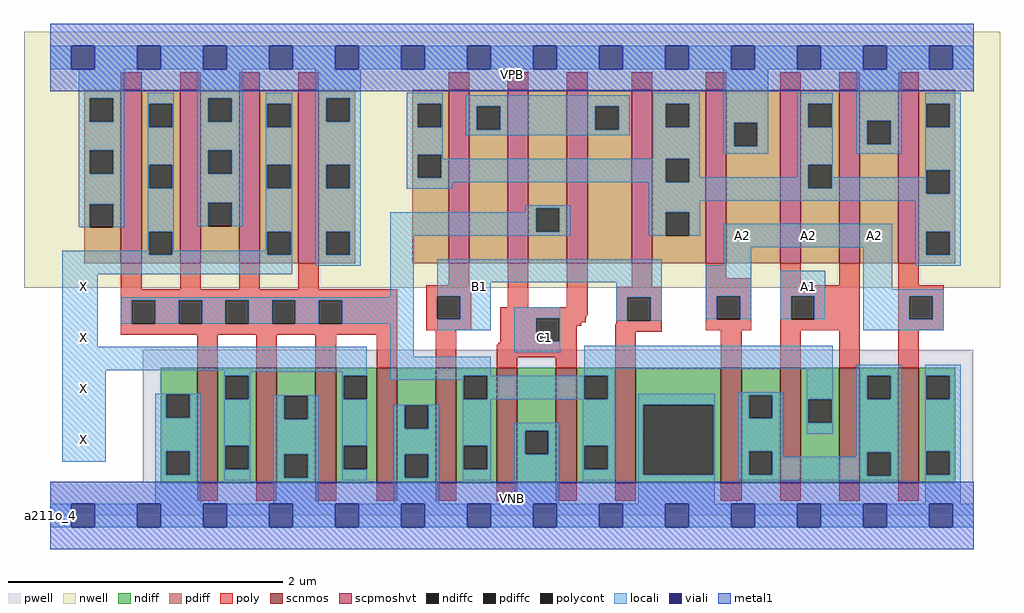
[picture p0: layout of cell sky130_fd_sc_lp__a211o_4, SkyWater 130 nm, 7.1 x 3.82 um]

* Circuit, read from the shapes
.subckt sky130_fd_sc_lp__a211o_4 A1 A2 B1 C1 VGND VNB VPB VPWR X
XM1 X n1 VGND VNB sky130_fd_pr__nfet_01v8 w=0.84 l=0.15 m=4
XM2 n1 B1 VGND VNB sky130_fd_pr__nfet_01v8 w=0.84 l=0.15 m=2
XM3 VGND C1 n1 VNB sky130_fd_pr__nfet_01v8 w=0.84 l=0.15 m=2
XM4 n2 A2 VGND VNB sky130_fd_pr__nfet_01v8 w=0.84 l=0.15 m=2
XM5 n1 A1 n2 VNB sky130_fd_pr__nfet_01v8 w=0.84 l=0.15 m=2
XM6 X n1 VPWR VPB sky130_fd_pr__pfet_01v8_hvt w=1.26 l=0.15 m=4
XM7 n3 B1 n4 VPB sky130_fd_pr__pfet_01v8_hvt w=1.26 l=0.15 m=2
XM8 n1 C1 n3 VPB sky130_fd_pr__pfet_01v8_hvt w=1.26 l=0.15 m=2
XM9 VPWR A2 n4 VPB sky130_fd_pr__pfet_01v8_hvt w=1.26 l=0.15 m=2
XM10 n4 A1 VPWR VPB sky130_fd_pr__pfet_01v8_hvt w=1.26 l=0.15 m=2
.ends

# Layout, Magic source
magic
tech sky130A
magscale 1 2
<< nwell >>
rect -38 331 1382 704
<< pwell >>
rect 135 49 1343 241
rect 0 0 1344 49
<< scnmos >>
rect 214 47 244 215
rect 300 47 330 215
rect 386 47 416 215
rect 475 47 505 215
rect 561 47 591 215
rect 650 47 680 215
rect 736 47 766 215
rect 822 47 852 215
rect 976 47 1006 215
rect 1062 47 1092 215
rect 1148 47 1178 215
rect 1234 47 1264 215
<< scpmoshvt >>
rect 103 367 133 619
rect 189 367 219 619
rect 275 367 305 619
rect 361 367 391 619
rect 580 367 610 619
rect 666 367 696 619
rect 752 367 782 619
rect 846 367 876 619
rect 954 367 984 619
rect 1062 367 1092 619
rect 1148 367 1178 619
rect 1234 367 1264 619
<< ndiff >>
rect 161 176 214 215
rect 161 142 169 176
rect 203 142 214 176
rect 161 93 214 142
rect 161 59 169 93
rect 203 59 214 93
rect 161 47 214 59
rect 244 203 300 215
rect 244 169 255 203
rect 289 169 300 203
rect 244 101 300 169
rect 244 67 255 101
rect 289 67 300 101
rect 244 47 300 67
rect 330 174 386 215
rect 330 140 341 174
rect 375 140 386 174
rect 330 89 386 140
rect 330 55 341 89
rect 375 55 386 89
rect 330 47 386 55
rect 416 203 475 215
rect 416 169 427 203
rect 461 169 475 203
rect 416 101 475 169
rect 416 67 427 101
rect 461 67 475 101
rect 416 47 475 67
rect 505 160 561 215
rect 505 126 516 160
rect 550 126 561 160
rect 505 89 561 126
rect 505 55 516 89
rect 550 55 561 89
rect 505 47 561 55
rect 591 203 650 215
rect 591 169 602 203
rect 636 169 650 203
rect 591 101 650 169
rect 591 67 602 101
rect 636 67 650 101
rect 591 47 650 67
rect 680 123 736 215
rect 680 89 691 123
rect 725 89 736 123
rect 680 47 736 89
rect 766 203 822 215
rect 766 169 777 203
rect 811 169 822 203
rect 766 101 822 169
rect 766 67 777 101
rect 811 67 822 101
rect 766 47 822 67
rect 852 161 976 215
rect 852 59 863 161
rect 965 59 976 161
rect 852 47 976 59
rect 1006 175 1062 215
rect 1006 141 1017 175
rect 1051 141 1062 175
rect 1006 93 1062 141
rect 1006 59 1017 93
rect 1051 59 1062 93
rect 1006 47 1062 59
rect 1092 169 1148 215
rect 1092 135 1103 169
rect 1137 135 1148 169
rect 1092 47 1148 135
rect 1178 203 1234 215
rect 1178 169 1189 203
rect 1223 169 1234 203
rect 1178 92 1234 169
rect 1178 58 1189 92
rect 1223 58 1234 92
rect 1178 47 1234 58
rect 1264 203 1317 215
rect 1264 169 1275 203
rect 1309 169 1317 203
rect 1264 93 1317 169
rect 1264 59 1275 93
rect 1309 59 1317 93
rect 1264 47 1317 59
<< pdiff >>
rect 50 607 103 619
rect 50 573 58 607
rect 92 573 103 607
rect 50 531 103 573
rect 50 497 58 531
rect 92 497 103 531
rect 50 453 103 497
rect 50 419 58 453
rect 92 419 103 453
rect 50 367 103 419
rect 133 599 189 619
rect 133 565 144 599
rect 178 565 189 599
rect 133 510 189 565
rect 133 476 144 510
rect 178 476 189 510
rect 133 413 189 476
rect 133 379 144 413
rect 178 379 189 413
rect 133 367 189 379
rect 219 607 275 619
rect 219 573 230 607
rect 264 573 275 607
rect 219 531 275 573
rect 219 497 230 531
rect 264 497 275 531
rect 219 455 275 497
rect 219 421 230 455
rect 264 421 275 455
rect 219 367 275 421
rect 305 599 361 619
rect 305 565 316 599
rect 350 565 361 599
rect 305 510 361 565
rect 305 476 316 510
rect 350 476 361 510
rect 305 413 361 476
rect 305 379 316 413
rect 350 379 361 413
rect 305 367 361 379
rect 391 607 444 619
rect 391 573 402 607
rect 436 573 444 607
rect 391 510 444 573
rect 391 476 402 510
rect 436 476 444 510
rect 391 413 444 476
rect 391 379 402 413
rect 436 379 444 413
rect 391 367 444 379
rect 527 599 580 619
rect 527 565 535 599
rect 569 565 580 599
rect 527 525 580 565
rect 527 491 535 525
rect 569 491 580 525
rect 527 367 580 491
rect 610 595 666 619
rect 610 561 621 595
rect 655 561 666 595
rect 610 367 666 561
rect 696 447 752 619
rect 696 413 707 447
rect 741 413 752 447
rect 696 367 752 413
rect 782 595 846 619
rect 782 561 793 595
rect 827 561 846 595
rect 782 367 846 561
rect 876 599 954 619
rect 876 565 896 599
rect 930 565 954 599
rect 876 519 954 565
rect 876 485 896 519
rect 930 485 954 519
rect 876 441 954 485
rect 876 407 896 441
rect 930 407 954 441
rect 876 367 954 407
rect 984 571 1062 619
rect 984 537 995 571
rect 1029 537 1062 571
rect 984 367 1062 537
rect 1092 599 1148 619
rect 1092 565 1103 599
rect 1137 565 1148 599
rect 1092 510 1148 565
rect 1092 476 1103 510
rect 1137 476 1148 510
rect 1092 367 1148 476
rect 1178 574 1234 619
rect 1178 540 1189 574
rect 1223 540 1234 574
rect 1178 367 1234 540
rect 1264 599 1317 619
rect 1264 565 1275 599
rect 1309 565 1317 599
rect 1264 502 1317 565
rect 1264 468 1275 502
rect 1309 468 1317 502
rect 1264 413 1317 468
rect 1264 379 1275 413
rect 1309 379 1317 413
rect 1264 367 1317 379
<< ndiffc >>
rect 169 142 203 176
rect 169 59 203 93
rect 255 169 289 203
rect 255 67 289 101
rect 341 140 375 174
rect 341 55 375 89
rect 427 169 461 203
rect 427 67 461 101
rect 516 126 550 160
rect 516 55 550 89
rect 602 169 636 203
rect 602 67 636 101
rect 691 89 725 123
rect 777 169 811 203
rect 777 67 811 101
rect 863 59 965 161
rect 1017 141 1051 175
rect 1017 59 1051 93
rect 1103 135 1137 169
rect 1189 169 1223 203
rect 1189 58 1223 92
rect 1275 169 1309 203
rect 1275 59 1309 93
<< pdiffc >>
rect 58 573 92 607
rect 58 497 92 531
rect 58 419 92 453
rect 144 565 178 599
rect 144 476 178 510
rect 144 379 178 413
rect 230 573 264 607
rect 230 497 264 531
rect 230 421 264 455
rect 316 565 350 599
rect 316 476 350 510
rect 316 379 350 413
rect 402 573 436 607
rect 402 476 436 510
rect 402 379 436 413
rect 535 565 569 599
rect 535 491 569 525
rect 621 561 655 595
rect 707 413 741 447
rect 793 561 827 595
rect 896 565 930 599
rect 896 485 930 519
rect 896 407 930 441
rect 995 537 1029 571
rect 1103 565 1137 599
rect 1103 476 1137 510
rect 1189 540 1223 574
rect 1275 565 1309 599
rect 1275 468 1309 502
rect 1275 379 1309 413
<< poly >>
rect 103 619 133 645
rect 189 619 219 645
rect 275 619 305 645
rect 361 619 391 645
rect 580 619 610 645
rect 666 619 696 645
rect 752 619 782 645
rect 846 619 876 645
rect 954 619 984 645
rect 1062 619 1092 645
rect 1148 619 1178 645
rect 1234 619 1264 645
rect 103 329 133 367
rect 189 329 219 367
rect 275 329 305 367
rect 361 329 391 367
rect 580 335 610 367
rect 103 313 505 329
rect 103 279 119 313
rect 153 279 187 313
rect 221 279 255 313
rect 289 279 323 313
rect 357 279 391 313
rect 425 279 505 313
rect 103 263 505 279
rect 547 319 613 335
rect 547 285 563 319
rect 597 285 613 319
rect 666 303 696 367
rect 752 303 782 367
rect 846 333 876 367
rect 954 345 984 367
rect 547 269 613 285
rect 655 291 782 303
rect 824 317 890 333
rect 655 288 780 291
rect 655 287 779 288
rect 214 215 244 263
rect 300 215 330 263
rect 386 215 416 263
rect 475 215 505 263
rect 561 215 591 269
rect 655 253 707 287
rect 741 281 779 287
rect 824 283 840 317
rect 874 283 890 317
rect 741 276 773 281
rect 824 278 890 283
rect 741 253 766 276
rect 655 251 766 253
rect 652 248 766 251
rect 650 230 766 248
rect 650 215 680 230
rect 736 215 766 230
rect 822 267 890 278
rect 954 319 1020 345
rect 954 285 970 319
rect 1004 285 1020 319
rect 954 269 1020 285
rect 1062 335 1092 367
rect 1148 335 1178 367
rect 1062 319 1178 335
rect 1062 285 1078 319
rect 1112 285 1178 319
rect 1062 269 1178 285
rect 822 215 852 267
rect 976 215 1006 269
rect 1062 215 1092 269
rect 1148 215 1178 269
rect 1234 335 1264 367
rect 1234 319 1300 335
rect 1234 285 1250 319
rect 1284 285 1300 319
rect 1234 269 1300 285
rect 1234 215 1264 269
rect 214 21 244 47
rect 300 21 330 47
rect 386 21 416 47
rect 475 21 505 47
rect 561 21 591 47
rect 650 21 680 47
rect 736 21 766 47
rect 822 21 852 47
rect 976 21 1006 47
rect 1062 21 1092 47
rect 1148 21 1178 47
rect 1234 21 1264 47
<< polycont >>
rect 119 279 153 313
rect 187 279 221 313
rect 255 279 289 313
rect 323 279 357 313
rect 391 279 425 313
rect 563 285 597 319
rect 707 253 741 287
rect 840 283 874 317
rect 970 285 1004 319
rect 1078 285 1112 319
rect 1250 285 1284 319
<< locali >>
rect 0 649 31 683
rect 65 649 127 683
rect 161 649 223 683
rect 257 649 319 683
rect 353 649 415 683
rect 449 649 511 683
rect 545 649 607 683
rect 641 649 703 683
rect 737 649 799 683
rect 833 649 895 683
rect 929 649 991 683
rect 1025 649 1087 683
rect 1121 649 1183 683
rect 1217 649 1279 683
rect 1313 649 1344 683
rect 42 607 108 649
rect 42 573 58 607
rect 92 573 108 607
rect 42 531 108 573
rect 42 497 58 531
rect 92 497 108 531
rect 42 453 108 497
rect 42 419 58 453
rect 92 419 108 453
rect 142 599 180 615
rect 142 565 144 599
rect 178 565 180 599
rect 142 510 180 565
rect 142 476 144 510
rect 178 476 180 510
rect 142 413 180 476
rect 214 607 280 649
rect 214 573 230 607
rect 264 573 280 607
rect 214 531 280 573
rect 214 497 230 531
rect 264 497 280 531
rect 214 455 280 497
rect 214 421 230 455
rect 264 421 280 455
rect 314 599 352 615
rect 314 565 316 599
rect 350 565 352 599
rect 314 510 352 565
rect 314 476 316 510
rect 350 476 352 510
rect 142 385 144 413
rect 18 379 144 385
rect 178 385 180 413
rect 314 413 352 476
rect 314 385 316 413
rect 178 379 316 385
rect 350 379 352 413
rect 18 351 352 379
rect 386 607 452 649
rect 386 573 402 607
rect 436 573 452 607
rect 386 510 452 573
rect 386 476 402 510
rect 436 476 452 510
rect 386 413 452 476
rect 519 599 571 615
rect 519 565 535 599
rect 569 565 571 599
rect 519 525 571 565
rect 605 595 843 611
rect 605 561 621 595
rect 655 561 793 595
rect 827 561 843 595
rect 605 553 843 561
rect 877 599 945 615
rect 877 565 896 599
rect 930 565 945 599
rect 519 491 535 525
rect 569 519 571 525
rect 877 519 945 565
rect 979 571 1045 649
rect 979 537 995 571
rect 1029 537 1045 571
rect 979 526 1045 537
rect 1087 599 1139 615
rect 1087 565 1103 599
rect 1137 565 1139 599
rect 569 491 896 519
rect 519 485 896 491
rect 930 492 945 519
rect 1087 510 1139 565
rect 1173 574 1239 649
rect 1173 540 1189 574
rect 1223 540 1239 574
rect 1173 526 1239 540
rect 1273 599 1325 615
rect 1273 565 1275 599
rect 1309 565 1325 599
rect 1087 492 1103 510
rect 930 485 1103 492
rect 519 475 585 485
rect 871 476 1103 485
rect 1137 492 1139 510
rect 1273 502 1325 565
rect 1273 492 1275 502
rect 1137 476 1275 492
rect 871 468 1275 476
rect 1309 468 1325 502
rect 871 458 1325 468
rect 691 447 757 451
rect 691 441 707 447
rect 386 379 402 413
rect 436 379 452 413
rect 386 363 452 379
rect 495 413 707 441
rect 741 413 757 447
rect 495 407 757 413
rect 871 441 946 458
rect 871 407 896 441
rect 930 407 946 441
rect 18 245 69 351
rect 495 317 529 407
rect 980 390 1225 424
rect 103 313 529 317
rect 103 279 119 313
rect 153 279 187 313
rect 221 279 255 313
rect 289 279 323 313
rect 357 279 391 313
rect 425 279 529 313
rect 18 211 461 245
rect 18 78 81 211
rect 253 209 461 211
rect 253 203 291 209
rect 153 176 219 177
rect 153 142 169 176
rect 203 142 219 176
rect 153 93 219 142
rect 153 59 169 93
rect 203 59 219 93
rect 153 17 219 59
rect 253 169 255 203
rect 289 169 291 203
rect 425 203 461 209
rect 253 101 291 169
rect 253 67 255 101
rect 289 67 291 101
rect 253 51 291 67
rect 325 174 391 175
rect 325 140 341 174
rect 375 140 391 174
rect 325 89 391 140
rect 325 55 341 89
rect 375 55 391 89
rect 325 17 391 55
rect 425 169 427 203
rect 495 231 529 279
rect 563 339 890 373
rect 980 364 1020 390
rect 563 319 641 339
rect 597 285 641 319
rect 824 317 890 339
rect 563 269 641 285
rect 675 287 742 303
rect 675 253 707 287
rect 741 253 742 287
rect 824 283 840 317
rect 874 283 890 317
rect 954 319 1020 364
rect 954 285 970 319
rect 1004 285 1020 319
rect 1062 319 1128 356
rect 1062 285 1078 319
rect 1112 285 1128 319
rect 1183 329 1225 390
rect 1259 413 1325 458
rect 1259 379 1275 413
rect 1309 379 1325 413
rect 1259 363 1325 379
rect 1183 319 1300 329
rect 1183 285 1250 319
rect 1284 285 1300 319
rect 1183 269 1300 285
rect 675 237 742 253
rect 495 203 641 231
rect 777 213 1139 247
rect 777 203 822 213
rect 495 197 602 203
rect 425 101 461 169
rect 600 169 602 197
rect 636 169 777 203
rect 811 169 822 203
rect 425 67 427 101
rect 425 51 461 67
rect 500 160 566 161
rect 500 126 516 160
rect 550 126 566 160
rect 500 89 566 126
rect 500 55 516 89
rect 550 55 566 89
rect 500 17 566 55
rect 600 101 641 169
rect 600 67 602 101
rect 636 67 641 101
rect 600 51 641 67
rect 675 123 741 135
rect 675 89 691 123
rect 725 89 741 123
rect 675 17 741 89
rect 775 101 822 169
rect 775 67 777 101
rect 811 67 822 101
rect 775 51 822 67
rect 856 161 967 177
rect 856 59 863 161
rect 965 59 967 161
rect 856 17 967 59
rect 1001 175 1067 179
rect 1001 141 1017 175
rect 1051 141 1067 175
rect 1001 93 1067 141
rect 1101 169 1139 213
rect 1101 135 1103 169
rect 1137 135 1139 169
rect 1101 119 1139 135
rect 1173 203 1239 219
rect 1173 169 1189 203
rect 1223 169 1239 203
rect 1001 59 1017 93
rect 1051 85 1067 93
rect 1173 92 1239 169
rect 1173 85 1189 92
rect 1051 59 1189 85
rect 1001 58 1189 59
rect 1223 58 1239 92
rect 1001 51 1239 58
rect 1273 203 1325 219
rect 1273 169 1275 203
rect 1309 169 1325 203
rect 1273 93 1325 169
rect 1273 59 1275 93
rect 1309 59 1325 93
rect 1273 17 1325 59
rect 0 -17 31 17
rect 65 -17 127 17
rect 161 -17 223 17
rect 257 -17 319 17
rect 353 -17 415 17
rect 449 -17 511 17
rect 545 -17 607 17
rect 641 -17 703 17
rect 737 -17 799 17
rect 833 -17 895 17
rect 929 -17 991 17
rect 1025 -17 1087 17
rect 1121 -17 1183 17
rect 1217 -17 1279 17
rect 1313 -17 1344 17
<< viali >>
rect 31 649 65 683
rect 127 649 161 683
rect 223 649 257 683
rect 319 649 353 683
rect 415 649 449 683
rect 511 649 545 683
rect 607 649 641 683
rect 703 649 737 683
rect 799 649 833 683
rect 895 649 929 683
rect 991 649 1025 683
rect 1087 649 1121 683
rect 1183 649 1217 683
rect 1279 649 1313 683
rect 31 -17 65 17
rect 127 -17 161 17
rect 223 -17 257 17
rect 319 -17 353 17
rect 415 -17 449 17
rect 511 -17 545 17
rect 607 -17 641 17
rect 703 -17 737 17
rect 799 -17 833 17
rect 895 -17 929 17
rect 991 -17 1025 17
rect 1087 -17 1121 17
rect 1183 -17 1217 17
rect 1279 -17 1313 17
<< metal1 >>
rect 0 683 1344 715
rect 0 649 31 683
rect 65 649 127 683
rect 161 649 223 683
rect 257 649 319 683
rect 353 649 415 683
rect 449 649 511 683
rect 545 649 607 683
rect 641 649 703 683
rect 737 649 799 683
rect 833 649 895 683
rect 929 649 991 683
rect 1025 649 1087 683
rect 1121 649 1183 683
rect 1217 649 1279 683
rect 1313 649 1344 683
rect 0 617 1344 649
rect 0 17 1344 49
rect 0 -17 31 17
rect 65 -17 127 17
rect 161 -17 223 17
rect 257 -17 319 17
rect 353 -17 415 17
rect 449 -17 511 17
rect 545 -17 607 17
rect 641 -17 703 17
rect 737 -17 799 17
rect 833 -17 895 17
rect 929 -17 991 17
rect 1025 -17 1087 17
rect 1121 -17 1183 17
rect 1217 -17 1279 17
rect 1313 -17 1344 17
rect 0 -49 1344 -17
<< labels >>
flabel pwell s 0 0 1344 49 0 FreeSans 200 0 0 0 VNB
port 6 nsew ground bidirectional
flabel nwell s 0 617 1344 666 0 FreeSans 200 0 0 0 VPB
port 7 nsew power bidirectional
rlabel comment s 0 0 0 0 4 a211o_4
flabel metal1 s 0 617 1344 666 0 FreeSans 340 0 0 0 VPWR
port 8 nsew power bidirectional
flabel metal1 s 0 0 1344 49 0 FreeSans 340 0 0 0 VGND
port 5 nsew ground bidirectional
flabel locali s 1087 316 1121 350 0 FreeSans 340 0 0 0 A1
port 1 nsew signal input
flabel locali s 991 390 1025 424 0 FreeSans 340 0 0 0 A2
port 2 nsew signal input
flabel locali s 1087 390 1121 424 0 FreeSans 340 0 0 0 A2
port 2 nsew signal input
flabel locali s 1183 390 1217 424 0 FreeSans 340 0 0 0 A2
port 2 nsew signal input
flabel locali s 703 242 737 276 0 FreeSans 340 0 0 0 C1
port 4 nsew signal input
flabel locali s 31 94 65 128 0 FreeSans 340 0 0 0 X
port 9 nsew signal output
flabel locali s 31 168 65 202 0 FreeSans 340 0 0 0 X
port 9 nsew signal output
flabel locali s 31 242 65 276 0 FreeSans 340 0 0 0 X
port 9 nsew signal output
flabel locali s 31 316 65 350 0 FreeSans 340 0 0 0 X
port 9 nsew signal output
flabel locali s 607 316 641 350 0 FreeSans 340 0 0 0 B1
port 3 nsew signal input
<< properties >>
string LEFsite unit
string LEFclass CORE
string FIXED_BBOX 0 0 1344 666
string GDS_FILE $PDKPATH/libs.ref/sky130_fd_sc_lp/gds/sky130_fd_sc_lp.gds
string LEFsymmetry X Y R90
string GDS_END 1947050
string GDS_START 1935408
<< end >>
